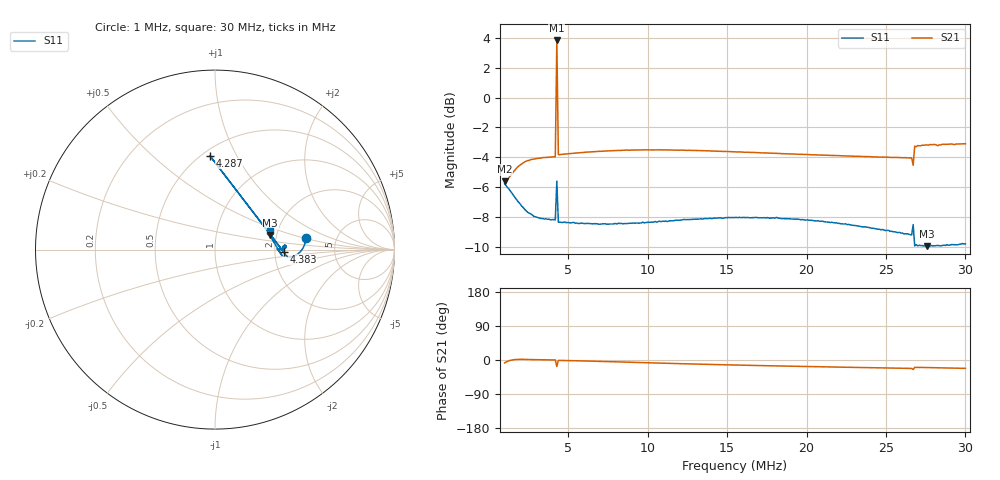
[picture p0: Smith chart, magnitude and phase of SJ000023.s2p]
!File created by NanoVNA-F V2
# Hz S RI R 50
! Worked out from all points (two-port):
!   301 points, 1 MHz to 30 MHz, reference 50 ohm
!   highest |S21| = 3.84 dB at 4.287 MHz (marker M1); lowest = -5.6 dB at 1 MHz (marker M2)
!   |S21| within 3 dB of the highest: 4.249 MHz to 4.324 MHz (74.92 kHz wide, 1.75 % of centre)
!   lowest |S11| = -10.0 dB at 27.58 MHz (marker M3), VSWR 1.93, Z = 92.5 + j16.2 ohm
!   |S11| at or under -10 dB: nowhere
!   S12 and S22 are empty: the file has one direction only
!   S11 on the Smith chart (normalised r, x): 1 MHz: 3.00, +0.54; 4.287 MHz: 0.54, +0.79; 4.383 MHz: 2.23, -0.06; 30 MHz: 1.81, +0.42
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1000000  0.5093 0.0668  0.5195 -0.0693  0 0  0 0
1193332  0.4982 0.0263  0.532 -0.0309  0 0  0 0
1483330  0.4754 -0.012  0.5569 0.00182  0 0  0 0
2063326  0.4311 -0.04  0.5984 0.0182  0 0  0 0
2836654  0.3979 -0.0337  0.6221 0.0114  0 0  0 0
4189978  0.3884 -0.022  0.6336 0.000892  0 0  0 0
4286644  -0.0292 0.5237  1.487 -0.4589  0 0  0 0
4383310  0.3819 -0.0114  0.6429 -0.0112  0 0  0 0
5833300  0.3796 -0.00185  0.6533 -0.0273  0 0  0 0
1.06666e7  0.3833 0.0202  0.6615 -0.0935  0 0  0 0
1.54999e7  0.3956 0.0195  0.6406 -0.1512  0 0  0 0
2.03332e7  0.3873 0.00566  0.6136 -0.1934  0 0  0 0
2.51665e7  0.3585 0.00143  0.5882 -0.2279  0 0  0 0
2.661649e7  0.346 0.00437  0.5816 -0.2374  0 0  0 0
2.671316e7  0.3734 -0.0328  0.5368 -0.2514  0 0  0 0
2.680982e7  0.3104 0.0689  0.648 -0.2288  0 0  0 0
2.690649e7  0.3147 0.0625  0.645 -0.2298  0 0  0 0
2.758315e7  0.3074 0.0787  0.6523 -0.2364  0 0  0 0
2.806648e7  0.3068 0.0852  0.6531 -0.2418  0 0  0 0
2.825981e7  0.3097 0.078  0.6449 -0.2442  0 0  0 0
2.893647e7  0.3046 0.096  0.6516 -0.2505  0 0  0 0
2.99998e7  0.3053 0.1049  0.6491 -0.2628  0 0  0 0
